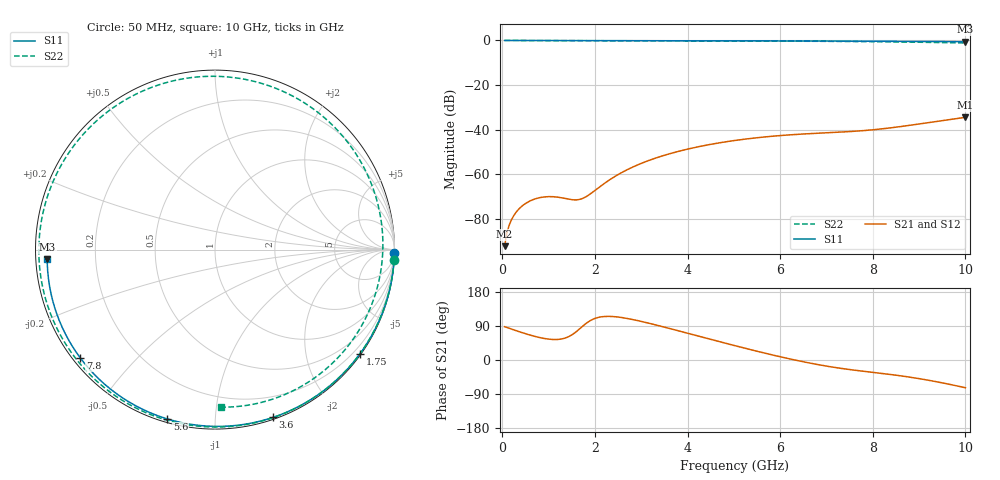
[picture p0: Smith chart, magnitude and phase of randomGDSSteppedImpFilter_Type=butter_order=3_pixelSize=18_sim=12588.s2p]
! freq	dB(S11)	phase(S11)	dB(S12)	phase(S12)
!  dB(S21)	phase(S21)	dB(S22)	phase(S22)
!S-par simulation data
#  GHz  S  DB  R 50
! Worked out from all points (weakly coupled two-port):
!   200 points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, 50 MHz to 10 GHz, reference 50 ohm
!   highest |S21| = -34.41 dB at 10 GHz (marker M1); lowest = -92.1 dB at 50 MHz (marker M2)
!   lowest |S11| = -0.6 dB at 10 GHz (marker M3), VSWR 30.45, Z = 1.64 - j1.41 ohm
!   |S11| at or under -10 dB: nowhere
!   |S22| runs from -1.1 to 0.0 dB; largest |S21 - S12| = 0
!   S11 on the Smith chart (normalised r, x): 50 MHz: open; 1.75 GHz: 0.03, -3.11; 3.6 GHz: 0.02, -1.40; 5.6 GHz: 0.02, -0.76; 7.8 GHz: 0.02, -0.35; 10 GHz: 0.03, -0.03
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0.05  -0.00 -1.0  -92.11 87.9  -92.11 87.9  -0.00 -3.3
0.2  -0.01 -4.1  -80.21 81.5  -80.21 81.5  -0.02 -13.3
0.35  -0.01 -7.2  -75.65 75.3  -75.65 75.3  -0.04 -23.1
0.55  -0.01 -11.3  -72.39 67.6  -72.39 67.6  -0.05 -35.9
0.9  -0.02 -18.5  -70.08 56.9  -70.08 56.9  -0.07 -57.4
1.3  -0.03 -26.6  -70.51 56.0  -70.51 56.0  -0.09 -80.1
1.75  -0.05 -35.6  -70.60 90.8  -70.60 90.8  -0.11 -103.2
2.55  -0.07 -51.2  -59.47 112.5  -59.47 112.5  -0.13 -138.6
3.4  -0.09 -67.2  -52.06 89.9  -52.06 89.9  -0.15 -170.9
3.6  -0.09 -70.9  -50.80 83.6  -50.80 83.6  -0.16 -178.1
4.3  -0.12 -83.5  -47.31 61.0  -47.31 61.0  -0.19 157.5
5.05  -0.15 -96.5  -44.70 37.0  -44.70 37.0  -0.23 131.2
5.6  -0.17 -105.7  -43.34 20.1  -43.34 20.1  -0.26 111.1
6.15  -0.20 -114.8  -42.35 4.4  -42.35 4.4  -0.30 89.9
6.7  -0.24 -123.7  -41.65 -9.5  -41.65 -9.5  -0.36 67.4
7.2  -0.28 -131.7  -41.14 -20.0  -41.14 -20.0  -0.42 45.6
7.8  -0.33 -141.2  -40.37 -29.8  -40.37 -29.8  -0.51 18.0
8.35  -0.38 -149.9  -39.22 -37.7  -39.22 -37.7  -0.62 -8.3
8.8  -0.43 -157.1  -37.99 -45.3  -37.99 -45.3  -0.73 -30.1
9.25  -0.48 -164.4  -36.65 -54.5  -36.65 -54.5  -0.87 -52.0
9.65  -0.53 -170.9  -35.44 -64.0  -35.44 -64.0  -1.00 -71.3
10  -0.57 -176.8  -34.41 -73.2  -34.41 -73.2  -1.13 -88.0
